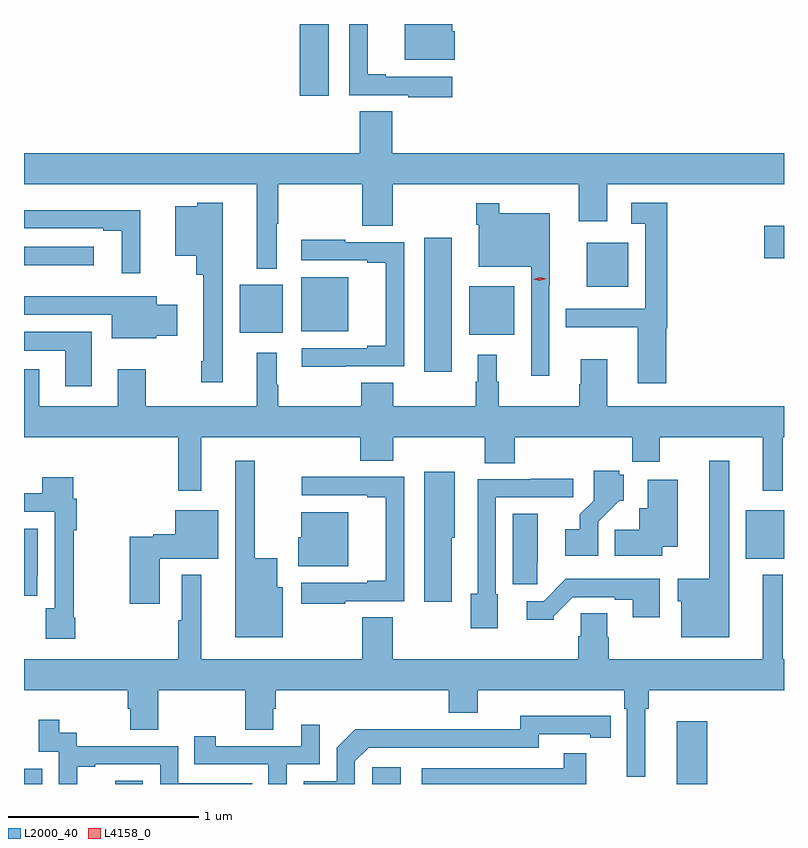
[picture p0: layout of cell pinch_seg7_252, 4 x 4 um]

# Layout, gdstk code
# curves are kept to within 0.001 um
import gdstk
lib = gdstk.Library(unit=1e-6, precision=1e-09)
def R(c, l, rs):  # rectangles x0, y0, x1, y1
    for r in rs: c.add(gdstk.rectangle(r[:2], r[2:], *l))
def P(c, l, *ps):  # polygons
    for p in ps: c.add(gdstk.Polygon(p, *l))
L2000_40 = (2000, 40)
L4158_0 = (4158, 0)

pinch_seg7_252 = lib.new_cell('pinch_seg7_252')
R(pinch_seg7_252, L2000_40, [(803.926,1060.063,804.023,1060.143), (804.405,1060.063,804.552,1060.081), (805.758,1060.063,805.909,1060.15), (807.362,1060.063,807.521,1060.393), (807.725,1061.249,807.926,1061.503), (806.033,1062.234,806.176,1062.937), (806.27,1062.428,806.506,1062.682), (805.061,1062.437,805.288,1062.691), (805.385,1062.446,805.633,1062.73), (806.888,1062.68,807.106,1062.913), (803.926,1062.794,804.292,1062.891), (807.822,1062.83,807.926,1063), (805.376,1063.686,805.531,1064.063)])
P(pinch_seg7_252, L2000_40, [(806.194,1064.025),(806.179,1064.025),(806.179,1064.063),(805.931,1064.063),(805.931,1063.874),(806.194,1063.874)],
  [(806.179,1063.785),(805.831,1063.785),(805.831,1063.798),(805.736,1063.798),(805.736,1064.063),(805.638,1064.063),(805.638,1063.689),(805.948,1063.689),(805.948,1063.677),(806.179,1063.677)],
  [(805.255,1063.012),(805.265,1063.012),(805.265,1063.22),(805.705,1063.22),(805.705,1063),(805.866,1063),(805.866,1063.22),(806.846,1063.22),(806.846,1063.026),(806.995,1063.026),(806.995,1063.22),(807.926,1063.22),(807.926,1063.384),(805.865,1063.384),(805.865,1063.604),(805.694,1063.604),(805.694,1063.384),(803.926,1063.384),(803.926,1063.22),(805.151,1063.22),(805.151,1062.776),(805.255,1062.776)],
  [(804.973,1063.123),(804.837,1063.123),(804.837,1063.105),(804.722,1063.105),(804.722,1062.842),(804.833,1062.842),(804.833,1062.743),(804.869,1062.743),(804.869,1062.289),(804.859,1062.289),(804.859,1062.177),(804.973,1062.177)],
  [(807.305,1062.461),(807.311,1062.461),(807.311,1063.123),(807.123,1063.123),(807.123,1063.013),(807.195,1063.013),(807.195,1062.564),(806.776,1062.564),(806.776,1062.467),(807.155,1062.467),(807.155,1062.171),(807.305,1062.171)],
  [(806.691,1062.689),(806.693,1062.689),(806.693,1063.066),(806.428,1063.066),(806.428,1063.12),(806.307,1063.12),(806.307,1063.007),(806.319,1063.007),(806.319,1062.785),(806.595,1062.785),(806.595,1062.213),(806.691,1062.213)],
  [(804.539,1063.084),(803.926,1063.084),(803.926,1062.987),(804.344,1062.987),(804.344,1062.975),(804.44,1062.975),(804.44,1062.75),(804.539,1062.75)],
  [(805.613,1062.261),(805.926,1062.261),(805.926,1062.915),(805.616,1062.915),(805.616,1062.928),(805.386,1062.928),(805.386,1062.819),(805.733,1062.819),(805.733,1062.807),(805.829,1062.807),(805.829,1062.37),(805.733,1062.37),(805.733,1062.357),(805.389,1062.357),(805.389,1062.26),(805.613,1062.26)],
  [(804.621,1062.421),(804.733,1062.421),(804.733,1062.586),(804.625,1062.586),(804.625,1062.631),(803.926,1062.631),(803.926,1062.534),(804.389,1062.534),(804.389,1062.41),(804.621,1062.41)],
  [(804.283,1062.444),(803.926,1062.444),(803.926,1062.343),(804.143,1062.343),(804.143,1062.156),(804.283,1062.156)],
  [(804.859,1061.888),(805.697,1061.888),(805.697,1061.764),(805.869,1061.764),(805.869,1061.888),(806.35,1061.888),(806.35,1061.752),(806.51,1061.752),(806.51,1061.888),(807.126,1061.888),(807.126,1061.76),(807.271,1061.76),(807.271,1061.888),(807.815,1061.888),(807.815,1061.607),(807.919,1061.607),(807.919,1061.888),(807.926,1061.888),(807.926,1062.052),(806.995,1062.052),(806.995,1062.298),(806.855,1062.298),(806.855,1062.167),(806.848,1062.167),(806.848,1062.052),(806.425,1062.052),(806.425,1062.179),(806.414,1062.179),(806.414,1062.322),(806.315,1062.322),(806.315,1062.179),(806.304,1062.179),(806.304,1062.052),(805.869,1062.052),(805.869,1062.176),(805.702,1062.176),(805.702,1062.052),(805.265,1062.052),(805.265,1062.164),(805.255,1062.164),(805.255,1062.334),(805.151,1062.334),(805.151,1062.052),(804.567,1062.052),(804.567,1062.247),(804.419,1062.247),(804.419,1062.052),(804.007,1062.052),(804.007,1062.247),(803.926,1062.247),(803.926,1061.888),(804.738,1061.888),(804.738,1061.607),(804.859,1061.607)],
  [(805.288,1061.098),(805.258,1061.098),(805.258,1061.251),(805.141,1061.251),(805.141,1061.764),(805.037,1061.764),(805.037,1060.835),(805.288,1060.835)],
  [(807.637,1061.764),(807.533,1061.764),(807.533,1061.143),(807.368,1061.143),(807.368,1061.025),(807.386,1061.025),(807.386,1060.835),(807.637,1060.835)],
  [(806.949,1061.442),(807.06,1061.553),(807.082,1061.553),(807.082,1061.691),(807.06,1061.691),(807.06,1061.713),(806.925,1061.713),(806.925,1061.555),(806.851,1061.482),(806.851,1061.404),(806.775,1061.404),(806.775,1061.264),(806.949,1061.264)],
  [(806.176,1061.358),(806.194,1061.358),(806.194,1061.707),(806.033,1061.707),(806.033,1061.022),(806.176,1061.022)],
  [(805.616,1061.025),(805.926,1061.025),(805.926,1061.679),(805.613,1061.679),(805.613,1061.681),(805.389,1061.681),(805.389,1061.583),(805.733,1061.583),(805.733,1061.571),(805.829,1061.571),(805.829,1061.134),(805.733,1061.134),(805.733,1061.121),(805.386,1061.121),(805.386,1061.013),(805.616,1061.013)],
  [(804.196,1060.939),(804.188,1060.939),(804.188,1061.399),(804.203,1061.399),(804.203,1061.564),(804.184,1061.564),(804.184,1061.677),(804.023,1061.677),(804.023,1061.594),(803.926,1061.594),(803.926,1061.496),(804.087,1061.496),(804.087,1060.987),(804.041,1060.987),(804.041,1060.827),(804.196,1060.827)],
  [(806.419,1061.061),(806.409,1061.061),(806.409,1061.571),(806.818,1061.571),(806.818,1061.67),(806.593,1061.67),(806.593,1061.667),(806.313,1061.667),(806.313,1061.065),(806.276,1061.065),(806.276,1060.884),(806.419,1060.884)],
  [(807.286,1061.312),(807.367,1061.312),(807.367,1061.665),(807.209,1061.665),(807.209,1061.515),(807.164,1061.515),(807.164,1061.402),(807.034,1061.402),(807.034,1061.264),(807.286,1061.264)],
  [(804.64,1061.249),(804.949,1061.249),(804.949,1061.503),(804.722,1061.503),(804.722,1061.378),(804.606,1061.378),(804.606,1061.365),(804.482,1061.365),(804.482,1061.013),(804.64,1061.013)],
  [(805.633,1061.494),(805.385,1061.494),(805.385,1061.361),(805.37,1061.361),(805.37,1061.21),(805.633,1061.21)],
  [(806.627,1061.227),(806.629,1061.227),(806.629,1061.486),(806.498,1061.486),(806.498,1061.115),(806.627,1061.115)],
  [(803.997,1061.158),(803.998,1061.158),(803.998,1061.407),(803.926,1061.407),(803.926,1061.055),(803.997,1061.055)],
  [(807.196,1060.46),(807.215,1060.46),(807.215,1060.556),(807.926,1060.556),(807.926,1060.72),(807.919,1060.72),(807.919,1061.164),(807.815,1061.164),(807.815,1060.72),(807.003,1060.72),(807.003,1060.835),(806.995,1060.835),(806.995,1060.961),(806.856,1060.961),(806.856,1060.84),(806.843,1060.84),(806.843,1060.72),(805.866,1060.72),(805.866,1060.94),(805.705,1060.94),(805.705,1060.72),(804.859,1060.72),(804.859,1061.164),(804.755,1061.164),(804.755,1060.925),(804.738,1060.925),(804.738,1060.72),(803.926,1060.72),(803.926,1060.556),(804.473,1060.556),(804.473,1060.458),(804.485,1060.458),(804.485,1060.348),(804.633,1060.348),(804.633,1060.556),(805.09,1060.556),(805.09,1060.348),(805.237,1060.348),(805.237,1060.458),(805.25,1060.458),(805.25,1060.556),(806.162,1060.556),(806.162,1060.439),(806.314,1060.439),(806.314,1060.556),(807.086,1060.556),(807.086,1060.46),(807.099,1060.46),(807.099,1060.101),(807.196,1060.101)],
  [(806.715,1060.947),(806.814,1061.046),(807.035,1061.046),(807.035,1061.034),(807.131,1061.034),(807.131,1060.941),(807.271,1060.941),(807.271,1061.142),(806.778,1061.142),(806.661,1061.025),(806.571,1061.025),(806.571,1060.928),(806.715,1060.928)],
  [(805.668,1060.182),(805.74,1060.254),(806.634,1060.254),(806.634,1060.326),(806.906,1060.326),(806.906,1060.306),(807.014,1060.306),(807.014,1060.422),(806.538,1060.423),(806.538,1060.35),(806.078,1060.35),(806.078,1060.352),(805.67,1060.352),(805.572,1060.254),(805.572,1060.077),(805.398,1060.077),(805.398,1060.063),(805.668,1060.063)],
  [(804.206,1060.155),(804.301,1060.155),(804.301,1060.167),(804.642,1060.167),(804.642,1060.063),(805.127,1060.063),(805.127,1060.068),(804.738,1060.068),(804.738,1060.263),(804.204,1060.263),(804.204,1060.332),(804.112,1060.332),(804.112,1060.402),(804.003,1060.402),(804.003,1060.233),(804.108,1060.233),(804.108,1060.063),(804.206,1060.063)],
  [(805.308,1060.167),(805.482,1060.167),(805.482,1060.375),(805.385,1060.375),(805.385,1060.263),(804.934,1060.263),(804.934,1060.315),(804.823,1060.315),(804.823,1060.167),(805.212,1060.167),(805.212,1060.063),(805.308,1060.063)],
  [(806.885,1060.225),(806.767,1060.225),(806.767,1060.146),(806.019,1060.146),(806.019,1060.063),(806.885,1060.063)])
P(pinch_seg7_252, L4158_0, [(806.641,1062.711),(806.605,1062.72),(806.605,1062.72),(806.605,1062.72),(806.64,1062.731),(806.677,1062.723),(806.677,1062.723),(806.677,1062.723)])

lib.write_gds('pinch_seg7_252.gds')
